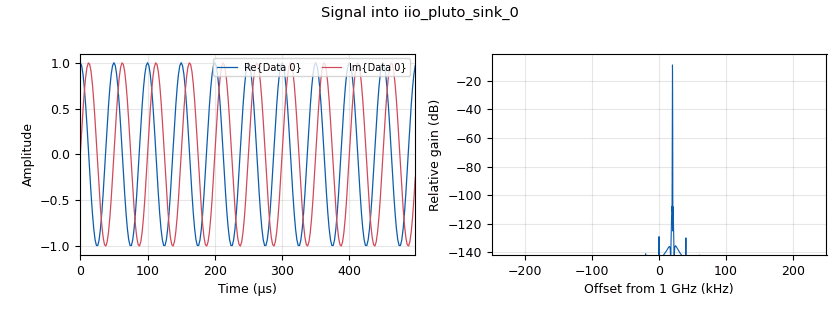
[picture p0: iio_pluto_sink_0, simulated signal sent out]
options:
  parameters:
    author: Brian Burke
    description: Sending a cos signal from one PLuto to another
    generate_options: qt_gui
    id: SDR_Pluto_2_Pluto
    output_language: python
    title: Pluto 2 Pluto Tx Rx
  states: {}

blocks:
- name: rf_bw
  id: variable
  parameters:
    value: '200000'
  states: {}
- name: samp_rate
  id: variable
  parameters:
    value: '500000'
  states: {}
- name: sig_freq
  id: variable
  parameters:
    value: '20000'
  states: {}
- name: analog_sig_source_x_0
  id: analog_sig_source_x
  parameters:
    amp: '1'
    freq: sig_freq
    offset: '0'
    phase: '0'
    samp_rate: samp_rate
    type: complex
    waveform: analog.GR_COS_WAVE
  states: {}
- name: iio_pluto_sink_0
  id: iio_pluto_sink
  parameters:
    attenuation1: '10.0'
    bandwidth: rf_bw
    buffer_size: '32768'
    cyclic: 'True'
    filter_source: '''Auto'''
    frequency: '1000000000'
    samplerate: samp_rate
    type: fc32
    uri: 192.168.2.1
  states: {}
- name: iio_pluto_source_0
  id: iio_pluto_source
  parameters:
    bandwidth: rf_bw
    bbdc: 'False'
    buffer_size: '32768'
    filter_source: '''Auto'''
    frequency: '1000000000'
    gain1: '''manual'''
    len_tag_key: ''
    manual_gain1: '50'
    quadrature: 'True'
    rfdc: 'False'
    samplerate: samp_rate
    type: fc32
    uri: 192.168.3.1
  states: {}
- name: qtgui_sink_x_0
  id: qtgui_sink_x
  parameters:
    bw: rf_bw
    fc: '0'
    fftsize: '2048'
    name: '"Pluto to Pluto"'
    type: complex
  states: {}

connections:
- [analog_sig_source_x_0, '0', iio_pluto_sink_0, '0']
- [iio_pluto_source_0, '0', qtgui_sink_x_0, '0']

metadata:
  file_format: 1
  grc_version: 3.10.4.0
